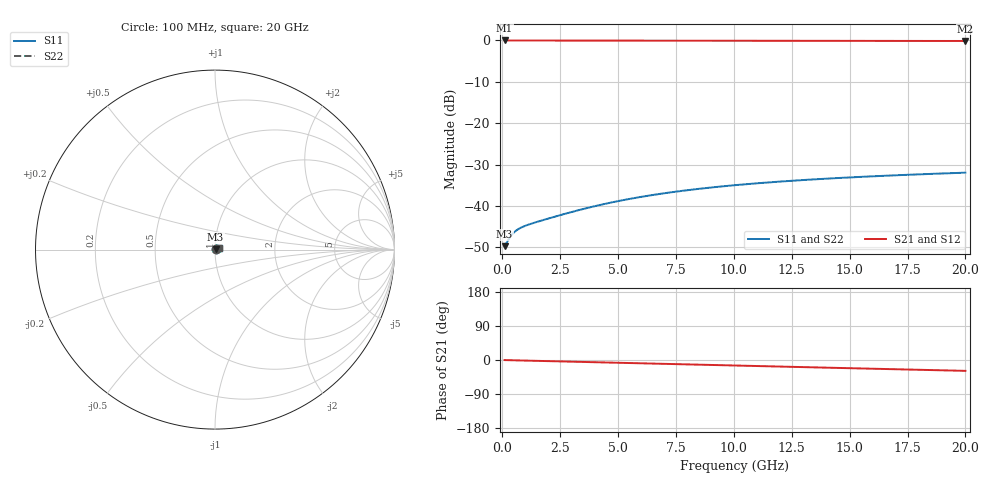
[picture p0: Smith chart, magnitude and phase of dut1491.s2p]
! Touchstone file exported from HFSS 2026.1.0
!  File:  C:/ffzhzh/LocalFiles/Ansys_Project_Files/temp_train_TMRDL_1491_1783167890_22436.aedt
!  Generated:  08:25:57 PM Jul  4, 2026
!  Design:  TMRDL
!  Project:  temp_train_TMRDL_1491_1783167890_22436
! Variables:
!  h_bsmrdl = 2um
!  h_ox = 20um
!  h_rdl = 5um
!  h_sub = 80um
!  h_tmrdl = 3.32um
!  h_tsv = 80um
!  h_via = 3um
!  l_bsmrdl = 300um
!  l_sub = 910.86um
!  l_tmrdl = 510.86um
!  m_sub = 200um
!  pitch = 22.12um
!  r_tsv = 6um
!  s_tmrdl = 10um
!  w_bsmrdl = 18um
!  w_sub = 500um
!  w_tmrdl = 18.25um
!  x_tsv_center1 = 519.985um
!  x_tsv_center2 = 837.985um
!  x_tsv_center3 = 1367.095um
!  x_tsv_center4 = 1685.095um
!  x_tsv_center5 = 2214.205um
!  x_tsv_center6 = 2532.205um
# GHz S MA R 50.000000
! Terminal data exported
! Port[1] = TM_RDL1_1_T1
! Port[2] = TM_RDL1_1_T2
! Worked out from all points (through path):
!   200 points, 100 MHz to 20 GHz, reference 50 ohm
!   highest |S21| = -0.03 dB at 100 MHz (marker M1); lowest = -0.2 dB at 20 GHz (marker M2)
!   group delay of S21, straight-line fit = 3.96 ps
!   lowest |S11| = -49.7 dB at 100 MHz (marker M3), VSWR 1.01, Z = 50.3 + j0.0632 ohm
!   |S11| at or under -10 dB: start of sweep to end of sweep
!   |S22| runs from -49.7 to -32.0 dB; largest |S21 - S12| = 2e-15
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0.1  0.003277 11.0  0.9968 -0.2  0.9968 -0.2  0.003277 11.0
! Gamma 0 0 0 0
! Port Impedance 50 0 50 0
0.3  0.004077 22.4  0.9962 -0.5  0.9962 -0.5  0.004075 22.3
0.4  0.004468 24.2  0.9959 -0.7  0.9959 -0.7  0.004461 24.0
0.5  0.004795 25.0  0.9957 -0.8  0.9957 -0.8  0.004781 24.8
0.6  0.005063 25.4  0.9955 -1.0  0.9955 -1.0  0.005043 25.3
0.8  0.005473 26.1  0.9951 -1.2  0.9951 -1.2  0.005446 26.1
1.1  0.005925 27.6  0.9948 -1.7  0.9948 -1.7  0.005898 27.7
1.7  0.00669 31.4  0.9944 -2.6  0.9944 -2.6  0.006676 31.7
2.7  0.008045 36.8  0.9939 -4.0  0.9939 -4.0  0.008046 37.0
3.5  0.009222 39.4  0.9934 -5.2  0.9934 -5.2  0.00922 39.5
4.3  0.01042 40.6  0.9929 -6.4  0.9929 -6.4  0.01042 40.7
5.1  0.01161 40.9  0.9922 -7.5  0.9922 -7.5  0.0116 41.0
5.9  0.01277 40.6  0.9916 -8.7  0.9916 -8.7  0.01274 40.7
6.8  0.014 39.8  0.9909 -10.0  0.9909 -10.0  0.01397 39.9
7.6  0.01504 38.7  0.9902 -11.1  0.9902 -11.1  0.01501 38.9
8.4  0.01602 37.6  0.9896 -12.3  0.9896 -12.3  0.01598 37.8
10.1  0.01791 34.8  0.9882 -14.7  0.9882 -14.7  0.01785 35.0
11.7  0.01947 32.0  0.987 -17.0  0.987 -17.0  0.01938 32.3
13.4  0.02093 29.0  0.9858 -19.4  0.9858 -19.4  0.02082 29.4
15  0.02215 26.3  0.9848 -21.6  0.9848 -21.6  0.02201 26.8
16.7  0.02332 23.5  0.9838 -24.0  0.9838 -24.0  0.02314 24.1
20  0.02527 18.3  0.982 -28.6  0.982 -28.6  0.02502 19.0
